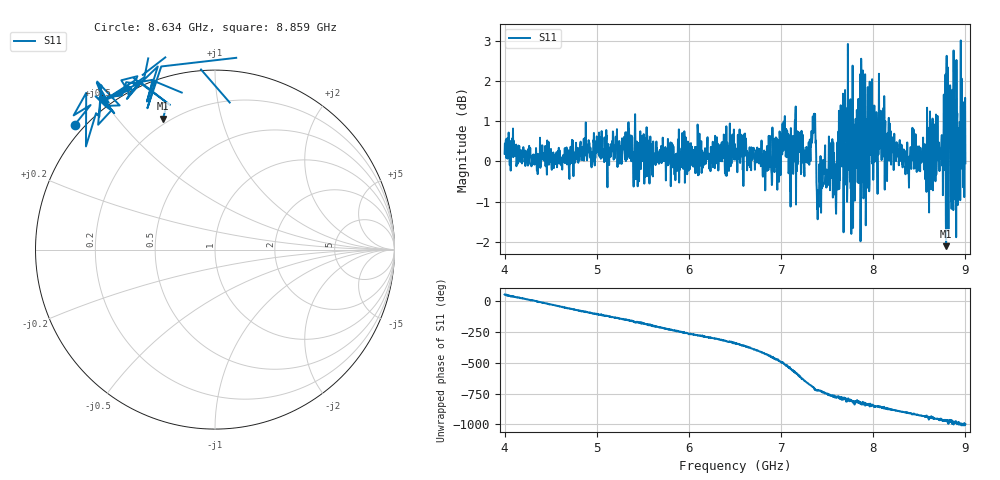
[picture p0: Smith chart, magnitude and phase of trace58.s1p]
! Created with skrf 1.8.0 (http://scikit-rf.org).
# Hz S RI R 50.0
!freq ReS11 ImS11
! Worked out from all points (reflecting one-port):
!   1601 points, 4 GHz to 9 GHz, reference 50 ohm
!   lowest |S11| = -2.1 dB at 8.791 GHz (marker M1), VSWR 8.29, Z = 8.75 + j33.2 ohm
!   phase of S11 starts at 52 deg and turns -1050 deg over the sweep
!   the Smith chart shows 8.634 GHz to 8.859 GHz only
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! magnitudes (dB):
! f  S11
! 4 GHz  0.2
! 4.625 GHz  -0.2
! 5.25 GHz  -0.1
! 5.875 GHz  0.1
! 6.5 GHz  0.2
! 6.806 GHz  0.0
! 6.972 GHz  0.5
! 7.022 GHz  0.6
! 7.125 GHz  0.3
! 7.272 GHz  0.1
! 7.353 GHz  1.0
! 7.409 GHz  -1.1
! 7.541 GHz  0.1
! 7.594 GHz  -1.1
! 7.669 GHz  0.2
! 7.75 GHz  -0.5
! 7.781 GHz  -1.7
! 7.834 GHz  0.6
! 7.909 GHz  1.3
! 8.097 GHz  0.1
! 8.375 GHz  -0.2
! 8.441 GHz  -0.2
! 8.581 GHz  -0.2
! 8.791 GHz  -2.1
! 8.819 GHz  0.1
! 8.869 GHz  -1.2
! 8.972 GHz  0.5
! 9 GHz  0.0
